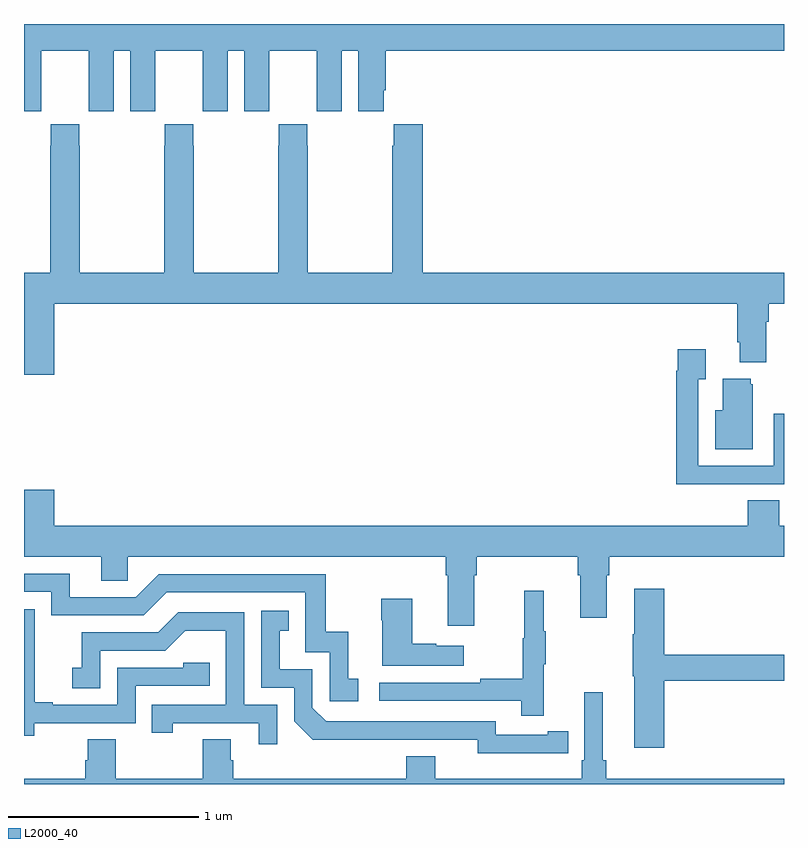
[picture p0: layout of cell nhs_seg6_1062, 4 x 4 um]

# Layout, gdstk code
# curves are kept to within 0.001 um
import gdstk
lib = gdstk.Library(unit=1e-6, precision=1e-09)
def P(c, l, *ps):  # polygons
    for p in ps: c.add(gdstk.Polygon(p, *l))
L2000_40 = (2000, 40)

nhs_seg6_1062 = lib.new_cell('nhs_seg6_1062')
P(nhs_seg6_1062, L2000_40, [(177.09,923.152),(177.091,923.152),(177.091,923.36),(177.341,923.36),(177.341,923.152),(177.342,923.152),(177.342,923.04),(177.472,923.04),(177.472,923.36),(177.56,923.36),(177.56,923.04),(177.69,923.04),(177.69,923.152),(177.691,923.152),(177.691,923.36),(177.941,923.36),(177.941,923.152),(177.942,923.152),(177.942,923.04),(178.072,923.04),(178.072,923.36),(178.16,923.36),(178.16,923.04),(178.29,923.04),(178.29,923.152),(178.291,923.152),(178.291,923.36),(178.541,923.36),(178.541,923.152),(178.542,923.152),(178.542,923.04),(178.672,923.04),(178.672,923.36),(178.76,923.36),(178.76,923.04),(178.894,923.04),(178.894,923.152),(178.904,923.152),(178.904,923.36),(181,923.36),(181,923.5),(177,923.5),(177,923.04),(177.09,923.04)],
  [(180.755,921.826),(180.767,921.826),(180.767,921.719),(180.907,921.719),(180.907,921.932),(180.92,921.932),(180.92,922.028),(181,922.028),(181,922.192),(179.099,922.192),(179.099,922.972),(178.945,922.972),(178.945,922.859),(178.939,922.859),(178.939,922.192),(178.494,922.192),(178.494,922.859),(178.491,922.859),(178.491,922.972),(178.341,922.972),(178.341,922.859),(178.339,922.859),(178.339,922.192),(177.894,922.192),(177.894,922.859),(177.891,922.859),(177.891,922.972),(177.741,922.972),(177.741,922.859),(177.739,922.859),(177.739,922.192),(177.294,922.192),(177.294,922.859),(177.291,922.859),(177.291,922.972),(177.141,922.972),(177.141,922.859),(177.139,922.859),(177.139,922.192),(177,922.192),(177,921.654),(177.16,921.654),(177.16,922.028),(180.755,922.028)],
  [(180.725,921.078),(181,921.078),(181,921.448),(180.945,921.448),(180.945,921.174),(180.549,921.174),(180.549,921.631),(180.589,921.631),(180.589,921.787),(180.441,921.787),(180.441,921.674),(180.433,921.674),(180.433,921.077),(180.725,921.077)],
  [(180.835,921.603),(180.824,921.603),(180.824,921.634),(180.677,921.634),(180.677,921.466),(180.638,921.466),(180.638,921.263),(180.835,921.263)],
  [(177.16,921.049),(177,921.049),(177,920.696),(177.407,920.696),(177.407,920.569),(177.546,920.569),(177.546,920.696),(179.219,920.696),(179.219,920.6),(179.231,920.6),(179.231,920.334),(179.371,920.334),(179.371,920.6),(179.384,920.6),(179.384,920.696),(179.915,920.696),(179.915,920.6),(179.927,920.6),(179.927,920.376),(180.067,920.376),(180.067,920.6),(180.08,920.6),(180.08,920.696),(181,920.696),(181,920.86),(180.974,920.86),(180.974,920.993),(180.809,920.993),(180.809,920.86),(177.16,920.86)],
  [(178.759,920.055),(178.706,920.055),(178.706,920.302),(178.588,920.302),(178.588,920.604),(177.708,920.604),(177.588,920.484),(177.241,920.484),(177.241,920.607),(177,920.607),(177,920.511),(177.144,920.511),(177.144,920.388),(177.63,920.388),(177.75,920.508),(178.479,920.508),(178.479,920.193),(178.608,920.193),(178.608,919.935),(178.759,919.935)],
  [(180.371,920.044),(181,920.044),(181,920.18),(180.371,920.18),(180.371,920.527),(180.212,920.527),(180.212,920.288),(180.205,920.288),(180.205,920.067),(180.212,920.067),(180.212,919.692),(180.371,919.692)],
  [(179.735,920.131),(179.746,920.131),(179.746,920.305),(179.735,920.305),(179.735,920.518),(179.632,920.518),(179.632,920.268),(179.625,920.268),(179.625,920.054),(179.401,920.054),(179.401,920.034),(178.869,920.034),(178.869,919.938),(179.617,919.938),(179.617,919.86),(179.735,919.86)],
  [(179.314,920.227),(179.171,920.227),(179.171,920.237),(179.044,920.237),(179.044,920.476),(178.879,920.476),(178.879,920.363),(178.886,920.363),(178.886,920.123),(179.314,920.123)],
  [(177.054,919.821),(177.588,919.821),(177.588,920.016),(177.977,920.016),(177.977,920.139),(177.837,920.139),(177.837,920.112),(177.492,920.112),(177.492,919.917),(177.151,919.917),(177.151,919.93),(177.056,919.93),(177.056,920.213),(177.057,920.213),(177.057,920.419),(177,920.419),(177,919.753),(177.054,919.753)],
  [(179.756,919.662),(179.864,919.662),(179.864,919.778),(179.756,919.778),(179.756,919.758),(179.484,919.758),(179.484,919.83),(178.59,919.83),(178.518,919.902),(178.518,920.103),(178.345,920.103),(178.345,920.307),(178.394,920.307),(178.394,920.413),(178.248,920.413),(178.248,920.007),(178.422,920.007),(178.422,919.83),(178.52,919.733),(179.388,919.734),(179.388,919.661)],
  [(178.332,919.917),(178.158,919.917),(178.158,920.403),(177.812,920.403),(177.707,920.298),(177.304,920.298),(177.304,920.113),(177.255,920.113),(177.255,920.004),(177.402,920.004),(177.402,920.202),(177.744,920.202),(177.848,920.306),(178.062,920.306),(178.062,919.917),(177.673,919.917),(177.673,919.77),(177.784,919.77),(177.784,919.821),(178.235,919.821),(178.235,919.71),(178.332,919.71)],
  [(181,919.528),(180.065,919.528),(180.065,919.624),(180.046,919.624),(180.046,919.984),(179.949,919.984),(179.949,919.624),(179.936,919.624),(179.936,919.528),(179.164,919.528),(179.164,919.645),(179.012,919.645),(179.012,919.528),(178.1,919.528),(178.1,919.626),(178.087,919.626),(178.087,919.736),(177.94,919.736),(177.94,919.528),(177.483,919.528),(177.483,919.736),(177.335,919.736),(177.335,919.626),(177.323,919.626),(177.323,919.528),(177,919.528),(177,919.5),(181,919.5)])

lib.write_gds('nhs_seg6_1062.gds')
